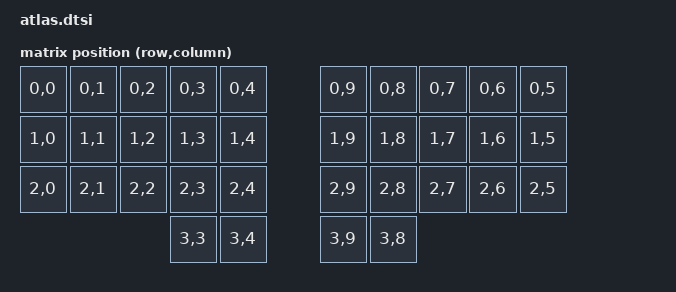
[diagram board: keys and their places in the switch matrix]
/*
 * Atlas split, 17 keys per half: 4x5 diode matrix (col2row) on a XIAO nRF52840 Plus.
 * Generated from the routed KiCad boards (pcb/atlas-*.kicad_pcb).
 * Key wiring: COLc -> switch -> 1N4148W -> ROWr; rows 0-2 = R0-R2, row 3 = thumbs (T0 c3, T1 c4).
 */
#include <dt-bindings/zmk/matrix_transform.h>

/*
 * The XIAO's default buses sit on pins this board uses for something else
 * (SPI D8-D10: right-hand columns; I2C D4/D5: columns left, ADS1220 DOUT +
 * thumb row right; UART D6/D7: ADS1220 DRDY/CS left, rows right). Off, so
 * that switching on a bus driver can't hand them those pins. The ADS1220
 * build turns SPI back on with its own pins (ads1220.dtsi).
 */
&xiao_spi { status = "disabled"; };
&xiao_i2c { status = "disabled"; };
&xiao_serial { status = "disabled"; };

/ {
    /* ESB split transport address config (same on dongle and halves) */
    esb_split {
        compatible = "zmk,esb-split";
        base-addr-0 = <0xE7 0xE7 0xE7 0xE7>;
        base-addr-1 = <0xC2 0xC2 0xC2 0xC2>;
        addr-prefix = <0xE7 0xC2 0xC3 0xC4 0xC5 0xC6 0xC7 0xC8>;
    };

    chosen {
        zmk,kscan = &kscan0;
        zmk,matrix-transform = &default_transform;
    };

    default_transform: keymap_transform_0 {
        compatible = "zmk,matrix-transform";
        rows = <4>;
        columns = <10>;   /* right half: col-offset 5 */
        map = <
            RC(0,0) RC(0,1) RC(0,2) RC(0,3) RC(0,4)   RC(0,9) RC(0,8) RC(0,7) RC(0,6) RC(0,5)
            RC(1,0) RC(1,1) RC(1,2) RC(1,3) RC(1,4)   RC(1,9) RC(1,8) RC(1,7) RC(1,6) RC(1,5)
            RC(2,0) RC(2,1) RC(2,2) RC(2,3) RC(2,4)   RC(2,9) RC(2,8) RC(2,7) RC(2,6) RC(2,5)
                                    RC(3,3) RC(3,4)   RC(3,9) RC(3,8)
        >;
    };

    kscan0: kscan_0 {
        compatible = "zmk,kscan-gpio-matrix";
        diode-direction = "col2row";
        wakeup-source;
        /* eager press (registers on first contact), 5 ms release debounce, 1 ms scan while keys are held */
        debounce-press-ms = <1>;
        debounce-release-ms = <5>;
        debounce-scan-period-ms = <1>;
    };
};
